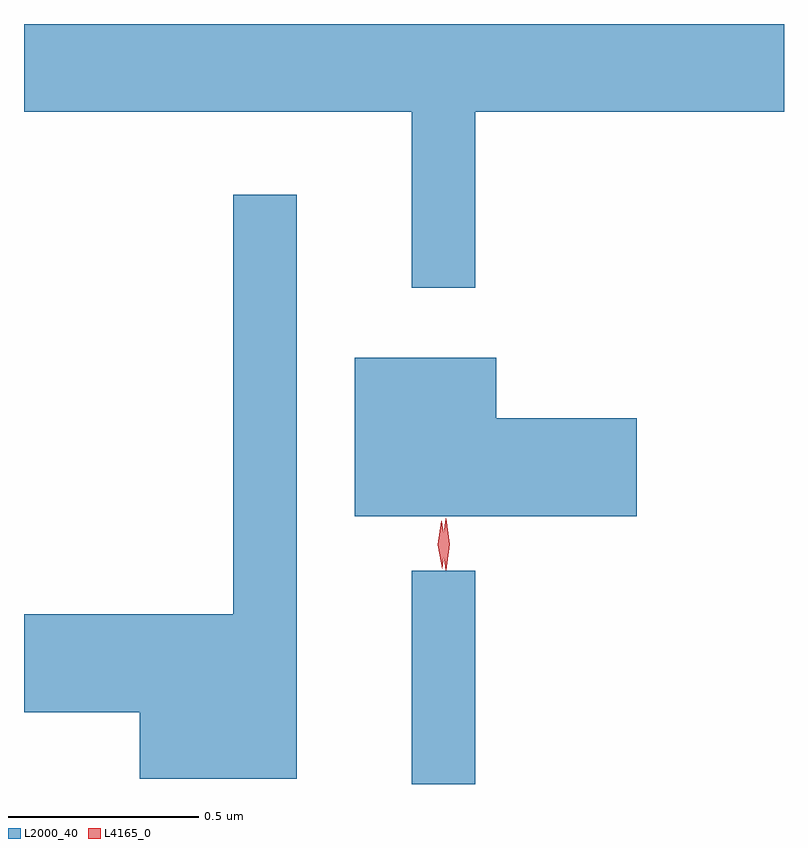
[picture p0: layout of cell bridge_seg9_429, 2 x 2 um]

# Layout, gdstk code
import gdstk
lib = gdstk.Library(unit=1e-6, precision=1e-09)
def R(c, l, rs):  # rectangles x0, y0, x1, y1
    for r in rs: c.add(gdstk.rectangle(r[:2], r[2:], *l))
def P(c, l, *ps):  # polygons
    for p in ps: c.add(gdstk.Polygon(p, *l))
L2000_40 = (2000, 40)
L4165_0 = (4165, 0)

bridge_seg9_429 = lib.new_cell('bridge_seg9_429')
R(bridge_seg9_429, L2000_40, [(490.921,2030.007,491.089,2030.568)])
P(bridge_seg9_429, L2000_40, [(491.089,2031.776),(491.901,2031.776),(491.901,2032.007),(489.901,2032.007),(489.901,2031.776),(490.921,2031.776),(490.921,2031.313),(491.089,2031.313)],
  [(490.619,2031.558),(490.451,2031.558),(490.451,2030.454),(489.901,2030.454),(489.901,2030.196),(490.206,2030.196),(490.206,2030.021),(490.619,2030.021)],
  [(491.514,2030.969),(491.144,2030.969),(491.144,2031.129),(490.771,2031.129),(490.771,2030.711),(491.514,2030.711)])
P(bridge_seg9_429, L4165_0, [(491.011,2030.57),(491.011,2030.57),(491.001,2030.638),(491.011,2030.705),(491.011,2030.706),(491.012,2030.705),(491.021,2030.638),(491.012,2030.57)],
  [(491.001,2030.573),(491.001,2030.573),(490.99,2030.636),(490.999,2030.699),(491,2030.7),(491,2030.699),(491.01,2030.636),(491.002,2030.573)])

lib.write_gds('bridge_seg9_429.gds')
